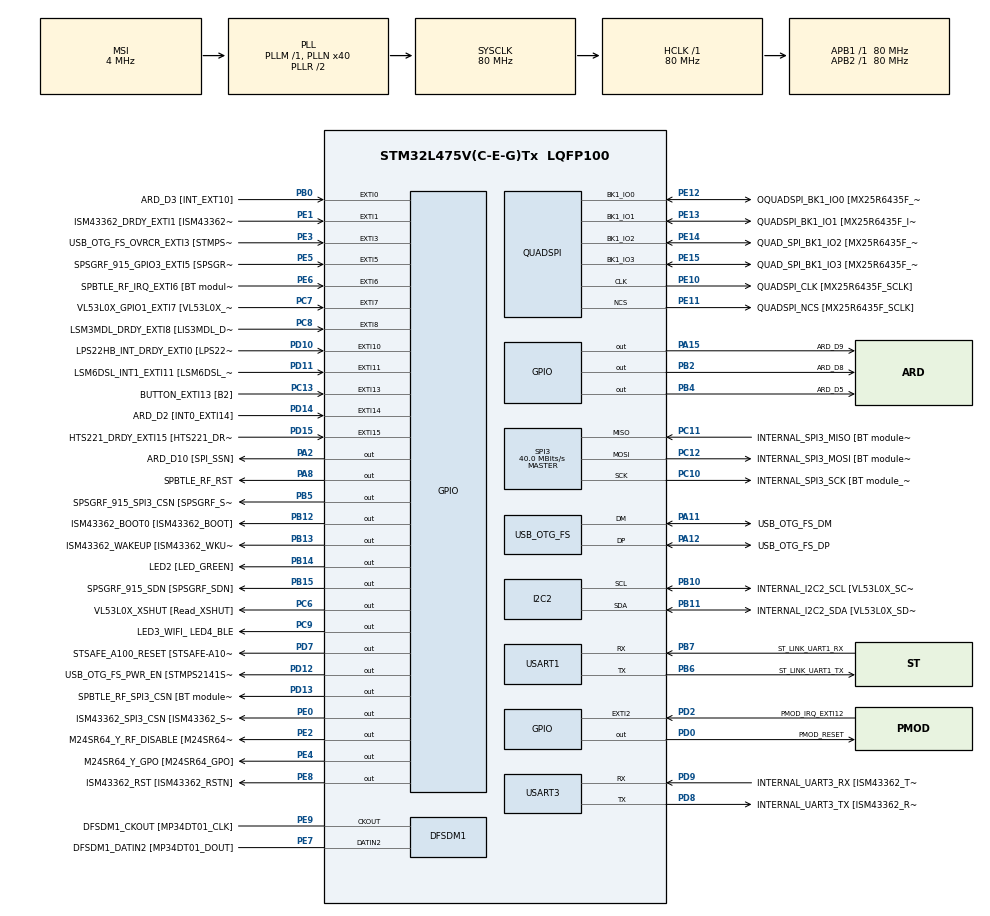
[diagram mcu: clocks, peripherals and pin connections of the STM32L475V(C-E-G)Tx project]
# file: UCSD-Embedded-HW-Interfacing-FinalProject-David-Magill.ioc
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Mcu.Family=STM32L4
Mcu.Name=STM32L475V(C-E-G)Tx
Mcu.Package=LQFP100
NVIC.EXTI15_10_IRQn=true\:0\:0\:false\:false\:true\:true\:true
NVIC.EXTI9_5_IRQn=true\:0\:0\:false\:false\:true\:true\:true
NVIC.PriorityGroup=NVIC_PRIORITYGROUP_4
PA0.GPIO_Label=ARD_D1 [UART4_TX]
PA0.Signal=UART4_TX
PA1.GPIO_Label=ARD_D0 [UART4_RX]
PA1.Signal=UART4_RX
PA10.GPIO_Label=USB_OTG_FS_ID
PA10.Signal=USB_OTG_FS_ID
PA11.GPIO_Label=USB_OTG_FS_DM
PA11.Mode=Device_Only
PA11.Signal=USB_OTG_FS_DM
PA12.GPIO_Label=USB_OTG_FS_DP
PA12.Mode=Device_Only
PA12.Signal=USB_OTG_FS_DP
PA13\ (JTMS-SWDIO).GPIO_Label=SYS_JTMS_SWDIO
PA13\ (JTMS-SWDIO).Mode=Serial_Wire
PA13\ (JTMS-SWDIO).Signal=SYS_JTMS-SWDIO
PA14\ (JTCK-SWCLK).GPIO_Label=SYS_JTCK_SWCLK
PA14\ (JTCK-SWCLK).Mode=Serial_Wire
PA14\ (JTCK-SWCLK).Signal=SYS_JTCK-SWCLK
PA15\ (JTDI).GPIO_Label=ARD_D9
PA15\ (JTDI).Signal=GPIO_Output
PA2.GPIO_Label=ARD_D10 [SPI_SSN]
PA2.Signal=GPIO_Output
PA3.GPIO_Label=ARD_D4
PA3.Signal=S_TIM2_CH4
PA4.GPIO_Label=ARD_D7
PA4.Signal=ADCx_IN9
PA5.GPIO_Label=ARD_D13 [SPI1_SCK]
PA5.Signal=SPI1_SCK
PA6.GPIO_Label=ARD_D12 [SPI1_MISO]
PA6.Signal=SPI1_MISO
PA7.GPIO_Label=ARD_D11 [SPI1_MOSI]
PA7.Signal=SPI1_MOSI
PA8.GPIO_Label=SPBTLE_RF_RST
PA8.Signal=GPIO_Output
PA9.GPIO_Label=USB_OTG_FS_VBUS [STMPS2141STR_OUT]
PA9.Signal=USB_OTG_FS_VBUS
PB0.GPIO_Label=ARD_D3 [INT_EXT10]
PB0.Signal=GPXTI0
PB1.GPIO_Label=ARD_D6 [ADC1_IN6]
PB1.Signal=ADCx_IN16
PB10.GPIO_Label=INTERNAL_I2C2_SCL [VL53L0X_SCL]
PB10.GPIO_Pu=GPIO_PULLUP
PB10.Mode=I2C
PB10.Signal=I2C2_SCL
PB11.GPIO_Label=INTERNAL_I2C2_SDA [VL53L0X_SDA]
PB11.GPIO_Pu=GPIO_PULLUP
PB11.Mode=I2C
PB11.Signal=I2C2_SDA
PB12.GPIO_Label=ISM43362_BOOT0 [ISM43362_BOOT]
PB12.Signal=GPIO_Output
PB13.GPIO_Label=ISM43362_WAKEUP [ISM43362_WKUP]
PB13.Signal=GPIO_Output
PB14.GPIO_Label=LED2 [LED_GREEN]
PB14.Signal=GPIO_Output
PB15.GPIO_Label=SPSGRF_915_SDN [SPSGRF_SDN]
PB15.Signal=GPIO_Output
PB2.GPIO_Label=ARD_D8
PB2.Signal=GPIO_Output
PB3\ (JTDO-TRACESWO).GPIO_Label=SYS_JTD0_SWO
PB3\ (JTDO-TRACESWO).Signal=SYS_JTDO-SWO
PB4\ (NJTRST).GPIO_Label=ARD_D5
PB4\ (NJTRST).Signal=GPIO_Output
PB5.GPIO_Label=SPSGRF_915_SPI3_CSN [SPSGRF_SPI_CS]
PB5.PinState=GPIO_PIN_SET
PB5.Signal=GPIO_Output
PB6.GPIO_Label=ST_LINK_UART1_TX
PB6.Mode=Asynchronous
PB6.Signal=USART1_TX
PB7.GPIO_Label=ST_LINK_UART1_RX
PB7.Mode=Asynchronous
PB7.Signal=USART1_RX
PB8.GPIO_Label=ARD_D15 [I2C1_SCL]
PB8.Signal=I2C1_SCL
PB9.GPIO_Label=ARD_D14 [I2C1_SDA]
PB9.Signal=I2C1_SDA
PC0.GPIO_Label=ARD_A5 [ADC]
PC0.Signal=ADCx_IN1
PC1.GPIO_Label=ARD_A4 [ADC]
PC1.Signal=ADCx_IN2
PC10.GPIO_Label=INTERNAL_SPI3_SCK [BT module_SPI_SCLK] [ISM43362_SCK]
PC10.Mode=Full_Duplex_Master
PC10.Signal=SPI3_SCK
PC11.GPIO_Label=INTERNAL_SPI3_MISO [BT module_SPI_MISO] [ISM43362_MISO]
PC11.Mode=Full_Duplex_Master
PC11.Signal=SPI3_MISO
PC12.GPIO_Label=INTERNAL_SPI3_MOSI [BT module_SPI_MOSI] [ISM43362_MOSI]
PC12.Mode=Full_Duplex_Master
PC12.Signal=SPI3_MOSI
PC13.GPIO_Label=BUTTON_EXTI13 [B2]
PC13.GPIO_ModeDefaultEXTI=GPIO_MODE_IT_FALLING
PC13.Signal=GPXTI13
PC14-OSC32_IN\ (PC14).Mode=LSE-External-Oscillator
PC14-OSC32_IN\ (PC14).Signal=RCC_OSC32_IN
PC15-OSC32_OUT\ (PC15).Mode=LSE-External-Oscillator
PC15-OSC32_OUT\ (PC15).Signal=RCC_OSC32_OUT
PC2.GPIO_Label=ARD_A3 [ADC]
PC2.Signal=ADCx_IN3
PC3.GPIO_Label=ARD_A2 [ADC]
PC3.Signal=ADCx_IN4
PC4.GPIO_Label=ARD_A1 [ADC]
PC4.Signal=ADCx_IN13
PC5.GPIO_Label=ARD_A0 [ADC]
PC5.Signal=ADCx_IN14
PC6.GPIO_Label=VL53L0X_XSHUT [Read_XSHUT]
PC6.Signal=GPIO_Output
PC7.GPIO_Label=VL53L0X_GPIO1_EXTI7 [VL53L0X_GPIO1]
PC7.Signal=GPXTI7
PC8.GPIO_Label=LSM3MDL_DRDY_EXTI8 [LIS3MDL_DRDY]
PC8.Signal=GPXTI8
PC9.GPIO_Label=LED3_WIFI_ LED4_BLE
PC9.Signal=GPIO_Output
PD0.GPIO_Label=PMOD_RESET
PD0.Signal=GPIO_Output
PD1.GPIO_Label=PMOD_SPI2_SCK
PD1.Signal=SPI2_SCK
PD10.GPIO_Label=LPS22HB_INT_DRDY_EXTI0 [LPS22HB_INT_DRDY] 
PD10.Signal=GPXTI10
PD11.GPIO_Label=LSM6DSL_INT1_EXTI11 [LSM6DSL_INT1]
PD11.Signal=GPXTI11
PD12.GPIO_Label=USB_OTG_FS_PWR_EN [STMPS2141STR_EN]
PD12.Signal=GPIO_Output
PD13.GPIO_Label=SPBTLE_RF_SPI3_CSN [BT module_SPI_CS]
PD13.PinState=GPIO_PIN_SET
PD13.Signal=GPIO_Output
PD14.GPIO_Label=ARD_D2 [INT0_EXTI14]
PD14.Signal=GPXTI14
PD15.GPIO_Label=HTS221_DRDY_EXTI15 [HTS221_DRDY]
PD15.Signal=GPXTI15
PD2.GPIO_Label=PMOD_IRQ_EXTI12
PD2.Signal=GPXTI2
PD3.GPIO_Label=PMOD_UART2_CTS
PD3.Signal=USART2_CTS
PD4.GPIO_Label=PMOD_UART2_RTS
PD4.Signal=USART2_RTS
PD5.GPIO_Label=PMOD_UART2_TX
PD5.Signal=USART2_TX
PD6.GPIO_Label=PMOD_UART2_RX
PD6.Signal=USART2_RX
PD7.GPIO_Label=STSAFE_A100_RESET [STSAFE-A100_RESET]
PD7.Signal=GPIO_Output
PD8.GPIO_Label=INTERNAL_UART3_TX [ISM43362_RX]
PD8.Mode=Asynchronous
PD8.Signal=USART3_TX
PD9.GPIO_Label=INTERNAL_UART3_RX [ISM43362_TX]
PD9.Mode=Asynchronous
PD9.Signal=USART3_RX
PE0.GPIO_Label=ISM43362_SPI3_CSN [ISM43362_SSN]
PE0.PinState=GPIO_PIN_SET
PE0.Signal=GPIO_Output
PE1.GPIO_Label=ISM43362_DRDY_EXTI1 [ISM43362_DATARDY]
PE1.Signal=GPXTI1
PE10.GPIO_Label=QUADSPI_CLK [MX25R6435F_SCLK]
PE10.Mode=Single Bank
PE10.Signal=QUADSPI_CLK
PE11.GPIO_Label=QUADSPI_NCS [MX25R6435F_SCLK]
PE11.Mode=Single Bank
PE11.Signal=QUADSPI_NCS
PE12.GPIO_Label=OQUADSPI_BK1_IO0 [MX25R6435F_IO0]
PE12.Mode=Single Bank
PE12.Signal=QUADSPI_BK1_IO0
PE13.GPIO_Label=QUADSPI_BK1_IO1 [MX25R6435F_IO1]
PE13.Mode=Single Bank
PE13.Signal=QUADSPI_BK1_IO1
PE14.GPIO_Label=QUAD_SPI_BK1_IO2 [MX25R6435F_IO2]
PE14.Mode=Single Bank
PE14.Signal=QUADSPI_BK1_IO2
PE15.GPIO_Label=QUAD_SPI_BK1_IO3 [MX25R6435F_IO3]
PE15.Mode=Single Bank
PE15.Signal=QUADSPI_BK1_IO3
PE2.GPIO_Label=M24SR64_Y_RF_DISABLE [M24SR64_RFDIS]
PE2.Signal=GPIO_Output
PE3.GPIO_Label=USB_OTG_FS_OVRCR_EXTI3 [STMPS2141STR_FAULT]
PE3.Signal=GPXTI3
PE4.GPIO_Label=M24SR64_Y_GPO [M24SR64_GPO]
PE4.Signal=GPIO_Output
PE5.GPIO_Label=SPSGRF_915_GPIO3_EXTI5 [SPSGRF_GPIO_3]
PE5.Signal=GPXTI5
PE6.GPIO_Label=SPBTLE_RF_IRQ_EXTI6 [BT module_SPI_IRQ]
PE6.Signal=GPXTI6
PE7.GPIO_Label=DFSDM1_DATIN2 [MP34DT01_DOUT]
PE7.Signal=S_DATAIN2DFSDM1
PE8.GPIO_Label=ISM43362_RST [ISM43362_RSTN]
PE8.Signal=GPIO_Output
PE9.GPIO_Label=DFSDM1_CKOUT [MP34DT01_CLK]
PE9.Signal=S_CKOUTDFSDM1
ProjectManager.HeapSize=0x200
ProjectManager.StackSize=0x400
ProjectManager.TargetToolchain=STM32CubeIDE
QUADSPI.ClockPrescaler=2
QUADSPI.FifoThreshold=4
QUADSPI.FlashSize=23
QUADSPI.SampleShifting=QSPI_SAMPLE_SHIFTING_HALFCYCLE
RCC.ADCFreq_Value=48000000
RCC.AHBFreq_Value=80000000
RCC.APB1Freq_Value=80000000
RCC.APB1TimFreq_Value=80000000
RCC.APB2Freq_Value=80000000
RCC.APB2TimFreq_Value=80000000
RCC.CortexFreq_Value=80000000
RCC.HCLKFreq_Value=80000000
RCC.HSE_VALUE=8000000
RCC.HSI_VALUE=16000000
RCC.MSI_VALUE=4000000
RCC.PLLN=40
RCC.PLLSAI1N=24
RCC.SYSCLKFreq_VALUE=80000000
RCC.SYSCLKSource=RCC_SYSCLKSOURCE_PLLCLK
RCC.USBFreq_Value=48000000
RCC.VCOOutputFreq_Value=160000000
SH.ADCx_IN1.0=ADC1_IN1
SH.ADCx_IN13.0=ADC1_IN13
SH.ADCx_IN14.0=ADC1_IN14
SH.ADCx_IN16.0=ADC1_IN16
SH.ADCx_IN2.0=ADC1_IN2
SH.ADCx_IN3.0=ADC1_IN3
SH.ADCx_IN4.0=ADC1_IN4
SH.ADCx_IN9.0=ADC1_IN9
SH.S_CKOUTDFSDM1.0=DFSDM1_CKOUT,CKOUT
SH.S_CKOUTDFSDM1.1=DFSDM1_CKOUT,PDM_SPI_Input_from_ch12_and_Internal_Clock
SH.S_DATAIN2DFSDM1.0=DFSDM1_DATIN2,PDM_SPI_Input_from_ch12_and_Internal_Clock
SH.S_TIM2_CH4.0=TIM2_CH4
SPI3.CalculateBaudRate=40.0 MBits/s
SPI3.Direction=SPI_DIRECTION_2LINES
SPI3.Mode=SPI_MODE_MASTER
SPI3.VirtualType=VM_MASTER
USART1.VirtualMode-Asynchronous=VM_ASYNC
USART3.VirtualMode-Asynchronous=VM_ASYNC
USB_OTG_FS.VirtualMode=Device_Only
board=B-L475E-IOT01A1

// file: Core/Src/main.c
/* USER CODE BEGIN Header */
/**
 ******************************************************************************
 * @file           : main.c
 * @brief          : Main program body
 ******************************************************************************
 * @attention
 *
 * <h2><center>&copy; Copyright (c) 2021 STMicroelectronics.
 * All rights reserved.</center></h2>
 *
 * This software component is licensed by ST under BSD 3-Clause license,
 * the "License"; You may not use this file except in compliance with the
 * License. You may obtain a copy of the License at:
 *                        opensource.org/licenses/BSD-3-Clause
 *
 ******************************************************************************
 */
/* USER CODE END Header */
#include "main.h"

/* USER CODE BEGIN Includes */
#include <stdio.h>
#include <string.h>
#include "stm32l475e_iot01.h"
#include "stm32l475e_iot01_tsensor.h"
#include "stm32l475e_iot01_hsensor.h"
/* USER CODE END Includes */

DFSDM_Channel_HandleTypeDef hdfsdm1_channel1;

I2C_HandleTypeDef hi2c2;

QSPI_HandleTypeDef hqspi;

SPI_HandleTypeDef hspi3;

UART_HandleTypeDef huart1;
UART_HandleTypeDef huart3;

PCD_HandleTypeDef hpcd_USB_OTG_FS;

void SystemClock_Config(void);
static void MX_GPIO_Init(void);
static void MX_DFSDM1_Init(void);
static void MX_I2C2_Init(void);
static void MX_QUADSPI_Init(void);
static void MX_SPI3_Init(void);
static void MX_USART1_UART_Init(void);
static void MX_USART3_UART_Init(void);
static void MX_USB_OTG_FS_PCD_Init(void);
/* USER CODE BEGIN PFP */
static void do_toggle_led(void);
static void do_read_temperature(void);
static void do_read_humidity(void);
static void do_unknown_command(void);
/* USER CODE END PFP */

int main(void) {

    /* MCU Configuration--------------------------------------------------------*/

    /* Reset of all peripherals, Initializes the Flash interface and the Systick. */
    HAL_Init();

    /* USER CODE BEGIN Init */
    BSP_TSENSOR_Init();
    BSP_HSENSOR_Init();
    /* USER CODE END Init */

    /* Configure the system clock */
    SystemClock_Config();

    /* Initialize all configured peripherals */
    MX_GPIO_Init();
    MX_DFSDM1_Init();
    MX_I2C2_Init();
    MX_QUADSPI_Init();
    MX_SPI3_Init();
    MX_USART1_UART_Init();
    MX_USART3_UART_Init();
    MX_USB_OTG_FS_PCD_Init();

    /* Infinite loop */
    while (1) {

        char *prompt = "1: Toggle LED\r\n"
                "2: Read Temperature\r\n"
                "3: Read Humidity\r\n";
        HAL_UART_Transmit(&huart1, (uint8_t*) prompt, strlen(prompt), 1000);

        char ch;
        HAL_UART_Receive(&huart1, (uint8_t*) &ch, sizeof(ch), HAL_MAX_DELAY);

        switch (ch) {
            case '1':
                do_toggle_led();
                break;
            case '2':
                do_read_temperature();
                break;
            case '3':
                do_read_humidity();
                break;
            default:
                do_unknown_command();
                break;
        }

    }
}

void SystemClock_Config(void) {
    RCC_OscInitTypeDef RCC_OscInitStruct = { 0 };
    RCC_ClkInitTypeDef RCC_ClkInitStruct = { 0 };

    /** Configure the main internal regulator output voltage
     */
    if (HAL_PWREx_ControlVoltageScaling(PWR_REGULATOR_VOLTAGE_SCALE1) != HAL_OK) {
        Error_Handler();
    }
    /** Configure LSE Drive Capability
     */
    HAL_PWR_EnableBkUpAccess();
    __HAL_RCC_LSEDRIVE_CONFIG(RCC_LSEDRIVE_LOW);
    /** Initializes the RCC Oscillators according to the specified parameters
     * in the RCC_OscInitTypeDef structure.
     */
    RCC_OscInitStruct.OscillatorType = RCC_OSCILLATORTYPE_LSE | RCC_OSCILLATORTYPE_MSI;
    RCC_OscInitStruct.LSEState = RCC_LSE_ON;
    RCC_OscInitStruct.MSIState = RCC_MSI_ON;
    RCC_OscInitStruct.MSICalibrationValue = 0;
    RCC_OscInitStruct.MSIClockRange = RCC_MSIRANGE_6;
    RCC_OscInitStruct.PLL.PLLState = RCC_PLL_ON;
    RCC_OscInitStruct.PLL.PLLSource = RCC_PLLSOURCE_MSI;
    RCC_OscInitStruct.PLL.PLLM = 1;
    RCC_OscInitStruct.PLL.PLLN = 40;
    RCC_OscInitStruct.PLL.PLLP = RCC_PLLP_DIV7;
    RCC_OscInitStruct.PLL.PLLQ = RCC_PLLQ_DIV2;
    RCC_OscInitStruct.PLL.PLLR = RCC_PLLR_DIV2;
    if (HAL_RCC_OscConfig(&RCC_OscInitStruct) != HAL_OK) {
        Error_Handler();
    }
    /** Initializes the CPU, AHB and APB buses clocks
     */
    RCC_ClkInitStruct.ClockType = RCC_CLOCKTYPE_HCLK | RCC_CLOCKTYPE_SYSCLK | RCC_CLOCKTYPE_PCLK1 | RCC_CLOCKTYPE_PCLK2;
    RCC_ClkInitStruct.SYSCLKSource = RCC_SYSCLKSOURCE_PLLCLK;
    RCC_ClkInitStruct.AHBCLKDivider = RCC_SYSCLK_DIV1;
    RCC_ClkInitStruct.APB1CLKDivider = RCC_HCLK_DIV1;
    RCC_ClkInitStruct.APB2CLKDivider = RCC_HCLK_DIV1;

    if (HAL_RCC_ClockConfig(&RCC_ClkInitStruct, FLASH_LATENCY_4) != HAL_OK) {
        Error_Handler();
    }
    /** Enable MSI Auto calibration
     */
    HAL_RCCEx_EnableMSIPLLMode();
}

static void MX_DFSDM1_Init(void) {

    hdfsdm1_channel1.Instance = DFSDM1_Channel1;
    hdfsdm1_channel1.Init.OutputClock.Activation = ENABLE;
    hdfsdm1_channel1.Init.OutputClock.Selection = DFSDM_CHANNEL_OUTPUT_CLOCK_SYSTEM;
    hdfsdm1_channel1.Init.OutputClock.Divider = 2;
    hdfsdm1_channel1.Init.Input.Multiplexer = DFSDM_CHANNEL_EXTERNAL_INPUTS;
    hdfsdm1_channel1.Init.Input.DataPacking = DFSDM_CHANNEL_STANDARD_MODE;
    hdfsdm1_channel1.Init.Input.Pins = DFSDM_CHANNEL_FOLLOWING_CHANNEL_PINS;
    hdfsdm1_channel1.Init.SerialInterface.Type = DFSDM_CHANNEL_SPI_RISING;
    hdfsdm1_channel1.Init.SerialInterface.SpiClock = DFSDM_CHANNEL_SPI_CLOCK_INTERNAL;
    hdfsdm1_channel1.Init.Awd.FilterOrder = DFSDM_CHANNEL_FASTSINC_ORDER;
    hdfsdm1_channel1.Init.Awd.Oversampling = 1;
    hdfsdm1_channel1.Init.Offset = 0;
    hdfsdm1_channel1.Init.RightBitShift = 0x00;
    if (HAL_DFSDM_ChannelInit(&hdfsdm1_channel1) != HAL_OK) {
        Error_Handler();
    }

}

static void MX_I2C2_Init(void) {

    hi2c2.Instance = I2C2;
    hi2c2.Init.Timing = 0x00000E14;
    hi2c2.Init.OwnAddress1 = 0;
    hi2c2.Init.AddressingMode = I2C_ADDRESSINGMODE_7BIT;
    hi2c2.Init.DualAddressMode = I2C_DUALADDRESS_DISABLE;
    hi2c2.Init.OwnAddress2 = 0;
    hi2c2.Init.OwnAddress2Masks = I2C_OA2_NOMASK;
    hi2c2.Init.GeneralCallMode = I2C_GENERALCALL_DISABLE;
    hi2c2.Init.NoStretchMode = I2C_NOSTRETCH_DISABLE;
    if (HAL_I2C_Init(&hi2c2) != HAL_OK) {
        Error_Handler();
    }
    /** Configure Analogue filter
     */
    if (HAL_I2CEx_ConfigAnalogFilter(&hi2c2, I2C_ANALOGFILTER_ENABLE) != HAL_OK) {
        Error_Handler();
    }
    /** Configure Digital filter
     */
    if (HAL_I2CEx_ConfigDigitalFilter(&hi2c2, 0) != HAL_OK) {
        Error_Handler();
    }

}

static void MX_QUADSPI_Init(void) {

    /* QUADSPI parameter configuration*/
    hqspi.Instance = QUADSPI;
    hqspi.Init.ClockPrescaler = 2;
    hqspi.Init.FifoThreshold = 4;
    hqspi.Init.SampleShifting = QSPI_SAMPLE_SHIFTING_HALFCYCLE;
    hqspi.Init.FlashSize = 23;
    hqspi.Init.ChipSelectHighTime = QSPI_CS_HIGH_TIME_1_CYCLE;
    hqspi.Init.ClockMode = QSPI_CLOCK_MODE_0;
    if (HAL_QSPI_Init(&hqspi) != HAL_OK) {
        Error_Handler();
    }

}

static void MX_SPI3_Init(void) {

    /* SPI3 parameter configuration*/
    hspi3.Instance = SPI3;
    hspi3.Init.Mode = SPI_MODE_MASTER;
    hspi3.Init.Direction = SPI_DIRECTION_2LINES;
    hspi3.Init.DataSize = SPI_DATASIZE_4BIT;
    hspi3.Init.CLKPolarity = SPI_POLARITY_LOW;
    hspi3.Init.CLKPhase = SPI_PHASE_1EDGE;
    hspi3.Init.NSS = SPI_NSS_SOFT;
    hspi3.Init.BaudRatePrescaler = SPI_BAUDRATEPRESCALER_2;
    hspi3.Init.FirstBit = SPI_FIRSTBIT_MSB;
    hspi3.Init.TIMode = SPI_TIMODE_DISABLE;
    hspi3.Init.CRCCalculation = SPI_CRCCALCULATION_DISABLE;
    hspi3.Init.CRCPolynomial = 7;
    hspi3.Init.CRCLength = SPI_CRC_LENGTH_DATASIZE;
    hspi3.Init.NSSPMode = SPI_NSS_PULSE_ENABLE;
    if (HAL_SPI_Init(&hspi3) != HAL_OK) {
        Error_Handler();
    }

}

static void MX_USART1_UART_Init(void) {

    huart1.Instance = USART1;
    huart1.Init.BaudRate = 115200;
    huart1.Init.WordLength = UART_WORDLENGTH_8B;
    huart1.Init.StopBits = UART_STOPBITS_1;
    huart1.Init.Parity = UART_PARITY_NONE;
    huart1.Init.Mode = UART_MODE_TX_RX;
    huart1.Init.HwFlowCtl = UART_HWCONTROL_NONE;
    huart1.Init.OverSampling = UART_OVERSAMPLING_16;
    huart1.Init.OneBitSampling = UART_ONE_BIT_SAMPLE_DISABLE;
    huart1.AdvancedInit.AdvFeatureInit = UART_ADVFEATURE_NO_INIT;
    if (HAL_UART_Init(&huart1) != HAL_OK) {
        Error_Handler();
    }

}

static void MX_USART3_UART_Init(void) {

    huart3.Instance = USART3;
    huart3.Init.BaudRate = 115200;
    huart3.Init.WordLength = UART_WORDLENGTH_8B;
    huart3.Init.StopBits = UART_STOPBITS_1;
    huart3.Init.Parity = UART_PARITY_NONE;
    huart3.Init.Mode = UART_MODE_TX_RX;
    huart3.Init.HwFlowCtl = UART_HWCONTROL_NONE;
    huart3.Init.OverSampling = UART_OVERSAMPLING_16;
    huart3.Init.OneBitSampling = UART_ONE_BIT_SAMPLE_DISABLE;
    huart3.AdvancedInit.AdvFeatureInit = UART_ADVFEATURE_NO_INIT;
    if (HAL_UART_Init(&huart3) != HAL_OK) {
        Error_Handler();
    }

}

static void MX_USB_OTG_FS_PCD_Init(void) {

    hpcd_USB_OTG_FS.Instance = USB_OTG_FS;
    hpcd_USB_OTG_FS.Init.dev_endpoints = 6;
    hpcd_USB_OTG_FS.Init.speed = PCD_SPEED_FULL;
    hpcd_USB_OTG_FS.Init.phy_itface = PCD_PHY_EMBEDDED;
    hpcd_USB_OTG_FS.Init.Sof_enable = DISABLE;
    hpcd_USB_OTG_FS.Init.low_power_enable = DISABLE;
    hpcd_USB_OTG_FS.Init.lpm_enable = DISABLE;
    hpcd_USB_OTG_FS.Init.battery_charging_enable = DISABLE;
    hpcd_USB_OTG_FS.Init.use_dedicated_ep1 = DISABLE;
    hpcd_USB_OTG_FS.Init.vbus_sensing_enable = DISABLE;
    if (HAL_PCD_Init(&hpcd_USB_OTG_FS) != HAL_OK) {
        Error_Handler();
    }

}

static void MX_GPIO_Init(void) {
    GPIO_InitTypeDef GPIO_InitStruct = { 0 };

    /* GPIO Ports Clock Enable */
    __HAL_RCC_GPIOE_CLK_ENABLE();
    __HAL_RCC_GPIOC_CLK_ENABLE();
    __HAL_RCC_GPIOA_CLK_ENABLE();
    __HAL_RCC_GPIOB_CLK_ENABLE();
    __HAL_RCC_GPIOD_CLK_ENABLE();

    /*Configure GPIO pin Output Level */
    HAL_GPIO_WritePin(GPIOE, M24SR64_Y_RF_DISABLE_Pin | M24SR64_Y_GPO_Pin | ISM43362_RST_Pin, GPIO_PIN_RESET);

    /*Configure GPIO pin Output Level */
    HAL_GPIO_WritePin(GPIOA, ARD_D10_Pin | SPBTLE_RF_RST_Pin | ARD_D9_Pin, GPIO_PIN_RESET);

    /*Configure GPIO pin Output Level */
    HAL_GPIO_WritePin(GPIOB,
    ARD_D8_Pin | ISM43362_BOOT0_Pin | ISM43362_WAKEUP_Pin | LED2_Pin | SPSGRF_915_SDN_Pin | ARD_D5_Pin, GPIO_PIN_RESET);

    /*Configure GPIO pin Output Level */
    HAL_GPIO_WritePin(GPIOD, USB_OTG_FS_PWR_EN_Pin | PMOD_RESET_Pin | STSAFE_A100_RESET_Pin, GPIO_PIN_RESET);

    /*Configure GPIO pin Output Level */
    HAL_GPIO_WritePin(SPBTLE_RF_SPI3_CSN_GPIO_Port, SPBTLE_RF_SPI3_CSN_Pin, GPIO_PIN_SET);

    /*Configure GPIO pin Output Level */
    HAL_GPIO_WritePin(GPIOC, VL53L0X_XSHUT_Pin | LED3_WIFI__LED4_BLE_Pin, GPIO_PIN_RESET);

    /*Configure GPIO pin Output Level */
    HAL_GPIO_WritePin(SPSGRF_915_SPI3_CSN_GPIO_Port, SPSGRF_915_SPI3_CSN_Pin, GPIO_PIN_SET);

    /*Configure GPIO pin Output Level */
    HAL_GPIO_WritePin(ISM43362_SPI3_CSN_GPIO_Port, ISM43362_SPI3_CSN_Pin, GPIO_PIN_SET);

    /*Configure GPIO pins : M24SR64_Y_RF_DISABLE_Pin M24SR64_Y_GPO_Pin ISM43362_RST_Pin ISM43362_SPI3_CSN_Pin */
    GPIO_InitStruct.Pin = M24SR64_Y_RF_DISABLE_Pin | M24SR64_Y_GPO_Pin | ISM43362_RST_Pin | ISM43362_SPI3_CSN_Pin;
    GPIO_InitStruct.Mode = GPIO_MODE_OUTPUT_PP;
    GPIO_InitStruct.Pull = GPIO_NOPULL;
    GPIO_InitStruct.Speed = GPIO_SPEED_FREQ_LOW;
    HAL_GPIO_Init(GPIOE, &GPIO_InitStruct);

    /*Configure GPIO pins : USB_OTG_FS_OVRCR_EXTI3_Pin SPSGRF_915_GPIO3_EXTI5_Pin SPBTLE_RF_IRQ_EXTI6_Pin ISM43362_DRDY_EXTI1_Pin */
    GPIO_InitStruct.Pin = USB_OTG_FS_OVRCR_EXTI3_Pin | SPSGRF_915_GPIO3_EXTI5_Pin | SPBTLE_RF_IRQ_EXTI6_Pin
            | ISM43362_DRDY_EXTI1_Pin;
    GPIO_InitStruct.Mode = GPIO_MODE_IT_RISING;
    GPIO_InitStruct.Pull = GPIO_NOPULL;
    HAL_GPIO_Init(GPIOE, &GPIO_InitStruct);

    /*Configure GPIO pin : BUTTON_EXTI13_Pin */
    GPIO_InitStruct.Pin = BUTTON_EXTI13_Pin;
    GPIO_InitStruct.Mode = GPIO_MODE_IT_FALLING;
    GPIO_InitStruct.Pull = GPIO_NOPULL;
    HAL_GPIO_Init(BUTTON_EXTI13_GPIO_Port, &GPIO_InitStruct);

    /*Configure GPIO pins : ARD_A5_Pin ARD_A4_Pin ARD_A3_Pin ARD_A2_Pin
     ARD_A1_Pin ARD_A0_Pin */
    GPIO_InitStruct.Pin = ARD_A5_Pin | ARD_A4_Pin | ARD_A3_Pin | ARD_A2_Pin | ARD_A1_Pin | ARD_A0_Pin;
    GPIO_InitStruct.Mode = GPIO_MODE_ANALOG_ADC_CONTROL;
    GPIO_InitStruct.Pull = GPIO_NOPULL;
    HAL_GPIO_Init(GPIOC, &GPIO_InitStruct);

    /*Configure GPIO pins : ARD_D1_Pin ARD_D0_Pin */
    GPIO_InitStruct.Pin = ARD_D1_Pin | ARD_D0_Pin;
    GPIO_InitStruct.Mode = GPIO_MODE_AF_PP;
    GPIO_InitStruct.Pull = GPIO_NOPULL;
    GPIO_InitStruct.Speed = GPIO_SPEED_FREQ_VERY_HIGH;
    GPIO_InitStruct.Alternate = GPIO_AF8_UART4;
    HAL_GPIO_Init(GPIOA, &GPIO_InitStruct);

    /*Configure GPIO pins : ARD_D10_Pin SPBTLE_RF_RST_Pin ARD_D9_Pin */
    GPIO_InitStruct.Pin = ARD_D10_Pin | SPBTLE_RF_RST_Pin | ARD_D9_Pin;
    GPIO_InitStruct.Mode = GPIO_MODE_OUTPUT_PP;
    GPIO_InitStruct.Pull = GPIO_NOPULL;
    GPIO_InitStruct.Speed = GPIO_SPEED_FREQ_LOW;
    HAL_GPIO_Init(GPIOA, &GPIO_InitStruct);

    /*Configure GPIO pin : ARD_D4_Pin */
    GPIO_InitStruct.Pin = ARD_D4_Pin;
    GPIO_InitStruct.Mode = GPIO_MODE_AF_PP;
    GPIO_InitStruct.Pull = GPIO_NOPULL;
    GPIO_InitStruct.Speed = GPIO_SPEED_FREQ_LOW;
    GPIO_InitStruct.Alternate = GPIO_AF1_TIM2;
    HAL_GPIO_Init(ARD_D4_GPIO_Port, &GPIO_InitStruct);

    /*Configure GPIO pin : ARD_D7_Pin */
    GPIO_InitStruct.Pin = ARD_D7_Pin;
    GPIO_InitStruct.Mode = GPIO_MODE_ANALOG_ADC_CONTROL;
    GPIO_InitStruct.Pull = GPIO_NOPULL;
    HAL_GPIO_Init(ARD_D7_GPIO_Port, &GPIO_InitStruct);

    /*Configure GPIO pins : ARD_D13_Pin ARD_D12_Pin ARD_D11_Pin */
    GPIO_InitStruct.Pin = ARD_D13_Pin | ARD_D12_Pin | ARD_D11_Pin;
    GPIO_InitStruct.Mode = GPIO_MODE_AF_PP;
    GPIO_InitStruct.Pull = GPIO_NOPULL;
    GPIO_InitStruct.Speed = GPIO_SPEED_FREQ_VERY_HIGH;
    GPIO_InitStruct.Alternate = GPIO_AF5_SPI1;
    HAL_GPIO_Init(GPIOA, &GPIO_InitStruct);

    /*Configure GPIO pin : ARD_D3_Pin */
    GPIO_InitStruct.Pin = ARD_D3_Pin;
    GPIO_InitStruct.Mode = GPIO_MODE_IT_RISING;
    GPIO_InitStruct.Pull = GPIO_NOPULL;
    HAL_GPIO_Init(ARD_D3_GPIO_Port, &GPIO_InitStruct);

    /*Configure GPIO pin : ARD_D6_Pin */
    GPIO_InitStruct.Pin = ARD_D6_Pin;
    GPIO_InitStruct.Mode = GPIO_MODE_ANALOG_ADC_CONTROL;
    GPIO_InitStruct.Pull = GPIO_NOPULL;
    HAL_GPIO_Init(ARD_D6_GPIO_Port, &GPIO_InitStruct);

    /*Configure GPIO pins : ARD_D8_Pin ISM43362_BOOT0_Pin ISM43362_WAKEUP_Pin LED2_Pin
     SPSGRF_915_SDN_Pin ARD_D5_Pin SPSGRF_915_SPI3_CSN_Pin */
    GPIO_InitStruct.Pin = ARD_D8_Pin | ISM43362_BOOT0_Pin | ISM43362_WAKEUP_Pin | LED2_Pin | SPSGRF_915_SDN_Pin
            | ARD_D5_Pin | SPSGRF_915_SPI3_CSN_Pin;
    GPIO_InitStruct.Mode = GPIO_MODE_OUTPUT_PP;
    GPIO_InitStruct.Pull = GPIO_NOPULL;
    GPIO_InitStruct.Speed = GPIO_SPEED_FREQ_LOW;
    HAL_GPIO_Init(GPIOB, &GPIO_InitStruct);

    /*Configure GPIO pins : LPS22HB_INT_DRDY_EXTI0_Pin LSM6DSL_INT1_EXTI11_Pin ARD_D2_Pin HTS221_DRDY_EXTI15_Pin
     PMOD_IRQ_EXTI12_Pin */
    GPIO_InitStruct.Pin = LPS22HB_INT_DRDY_EXTI0_Pin | LSM6DSL_INT1_EXTI11_Pin | ARD_D2_Pin | HTS221_DRDY_EXTI15_Pin
            | PMOD_IRQ_EXTI12_Pin;
    GPIO_InitStruct.Mode = GPIO_MODE_IT_RISING;
    GPIO_InitStruct.Pull = GPIO_NOPULL;
    HAL_GPIO_Init(GPIOD, &GPIO_InitStruct);

    /*Configure GPIO pins : USB_OTG_FS_PWR_EN_Pin SPBTLE_RF_SPI3_CSN_Pin PMOD_RESET_Pin STSAFE_A100_RESET_Pin */
    GPIO_InitStruct.Pin = USB_OTG_FS_PWR_EN_Pin | SPBTLE_RF_SPI3_CSN_Pin | PMOD_RESET_Pin | STSAFE_A100_RESET_Pin;
    GPIO_InitStruct.Mode = GPIO_MODE_OUTPUT_PP;
    GPIO_InitStruct.Pull = GPIO_NOPULL;
    GPIO_InitStruct.Speed = GPIO_SPEED_FREQ_LOW;
    HAL_GPIO_Init(GPIOD, &GPIO_InitStruct);

    /*Configure GPIO pins : VL53L0X_XSHUT_Pin LED3_WIFI__LED4_BLE_Pin */
    GPIO_InitStruct.Pin = VL53L0X_XSHUT_Pin | LED3_WIFI__LED4_BLE_Pin;
    GPIO_InitStruct.Mode = GPIO_MODE_OUTPUT_PP;
    GPIO_InitStruct.Pull = GPIO_NOPULL;
    GPIO_InitStruct.Speed = GPIO_SPEED_FREQ_LOW;
    HAL_GPIO_Init(GPIOC, &GPIO_InitStruct);

    /*Configure GPIO pins : VL53L0X_GPIO1_EXTI7_Pin LSM3MDL_DRDY_EXTI8_Pin */
    GPIO_InitStruct.Pin = VL53L0X_GPIO1_EXTI7_Pin | LSM3MDL_DRDY_EXTI8_Pin;
    GPIO_InitStruct.Mode = GPIO_MODE_IT_RISING;
    GPIO_InitStruct.Pull = GPIO_NOPULL;
    HAL_GPIO_Init(GPIOC, &GPIO_InitStruct);

    /*Configure GPIO pin : PMOD_SPI2_SCK_Pin */
    GPIO_InitStruct.Pin = PMOD_SPI2_SCK_Pin;
    GPIO_InitStruct.Mode = GPIO_MODE_AF_PP;
    GPIO_InitStruct.Pull = GPIO_NOPULL;
    GPIO_InitStruct.Speed = GPIO_SPEED_FREQ_VERY_HIGH;
    GPIO_InitStruct.Alternate = GPIO_AF5_SPI2;
    HAL_GPIO_Init(PMOD_SPI2_SCK_GPIO_Port, &GPIO_InitStruct);

    /*Configure GPIO pins : PMOD_UART2_CTS_Pin PMOD_UART2_RTS_Pin PMOD_UART2_TX_Pin PMOD_UART2_RX_Pin */
    GPIO_InitStruct.Pin = PMOD_UART2_CTS_Pin | PMOD_UART2_RTS_Pin | PMOD_UART2_TX_Pin | PMOD_UART2_RX_Pin;
    GPIO_InitStruct.Mode = GPIO_MODE_AF_PP;
    GPIO_InitStruct.Pull = GPIO_NOPULL;
    GPIO_InitStruct.Speed = GPIO_SPEED_FREQ_VERY_HIGH;
    GPIO_InitStruct.Alternate = GPIO_AF7_USART2;
    HAL_GPIO_Init(GPIOD, &GPIO_InitStruct);

    /*Configure GPIO pins : ARD_D15_Pin ARD_D14_Pin */
    GPIO_InitStruct.Pin = ARD_D15_Pin | ARD_D14_Pin;
    GPIO_InitStruct.Mode = GPIO_MODE_AF_OD;
    GPIO_InitStruct.Pull = GPIO_NOPULL;
    GPIO_InitStruct.Speed = GPIO_SPEED_FREQ_VERY_HIGH;
    GPIO_InitStruct.Alternate = GPIO_AF4_I2C1;
    HAL_GPIO_Init(GPIOB, &GPIO_InitStruct);

    /* EXTI interrupt init*/
    HAL_NVIC_SetPriority(EXTI9_5_IRQn, 0, 0);
    HAL_NVIC_EnableIRQ(EXTI9_5_IRQn);

    HAL_NVIC_SetPriority(EXTI15_10_IRQn, 0, 0);
    HAL_NVIC_EnableIRQ(EXTI15_10_IRQn);

}

/* USER CODE BEGIN 4 */
void do_toggle_led() {
    char *msg = "LED toggled.\r\n";

    HAL_GPIO_TogglePin(LED2_GPIO_PORT, LED2_PIN);

    HAL_UART_Transmit(&huart1, (uint8_t*) msg, strlen(msg), 100);
}

void do_read_humidity() {
    char buff[100] = { 0 };
    float humidity = BSP_HSENSOR_ReadHumidity();

    snprintf(buff, sizeof(buff), "Humidity is: %f\r\n", humidity);

    HAL_UART_Transmit(&huart1, (uint8_t*) buff, strlen(buff), 100);
}

void do_read_temperature() {
    char buff[100] = { 0 };
    float temp = BSP_TSENSOR_ReadTemp();

    snprintf(buff, sizeof(buff), "Temperature is: %f\r\n", temp);

    HAL_UART_Transmit(&huart1, (uint8_t*) buff, strlen(buff), 100);
}

void do_unknown_command() {
    char *unknown = "Unknown command, please enter valid command.\r\n";

    HAL_UART_Transmit(&huart1, (uint8_t*) unknown, strlen(unknown), 100);
}
/* USER CODE END 4 */

void Error_Handler(void) {
    __disable_irq();
    while (1) {
    }
}

/************************ (C) COPYRIGHT STMicroelectronics *****END OF FILE****/
